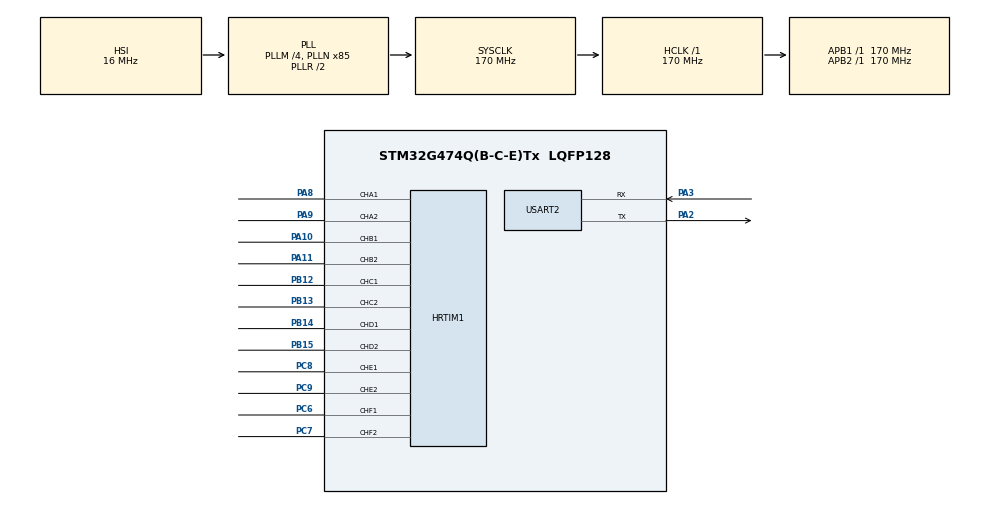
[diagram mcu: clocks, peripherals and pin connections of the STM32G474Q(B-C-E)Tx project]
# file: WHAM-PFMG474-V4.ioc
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HRTIM1.PrescalerRatio_MASTER=HRTIM_PRESCALERRATIO_DIV1
HRTIM1.PrescalerRatio_TA=HRTIM_PRESCALERRATIO_DIV1
HRTIM1.PrescalerRatio_TB=HRTIM_PRESCALERRATIO_DIV1
HRTIM1.PrescalerRatio_TC=HRTIM_PRESCALERRATIO_DIV1
HRTIM1.PrescalerRatio_TD=HRTIM_PRESCALERRATIO_DIV1
HRTIM1.PrescalerRatio_TE=HRTIM_PRESCALERRATIO_DIV1
HRTIM1.PrescalerRatio_TF=HRTIM_PRESCALERRATIO_DIV1
Mcu.Family=STM32G4
Mcu.Name=STM32G474Q(B-C-E)Tx
Mcu.Package=LQFP128
NVIC.PriorityGroup=NVIC_PRIORITYGROUP_4
PA10.Mode=Output_TB1TB2
PA10.Signal=HRTIM1_CHB1
PA11.Mode=Output_TB1TB2
PA11.Signal=HRTIM1_CHB2
PA2.Mode=Asynchronous
PA2.Signal=USART2_TX
PA3.Mode=Asynchronous
PA3.Signal=USART2_RX
PA8.Mode=Output_TA1TA2
PA8.Signal=HRTIM1_CHA1
PA9.Mode=Output_TA1TA2
PA9.Signal=HRTIM1_CHA2
PB12.Mode=Output_TC1TC2
PB12.Signal=HRTIM1_CHC1
PB13.Mode=Output_TC1TC2
PB13.Signal=HRTIM1_CHC2
PB14.Mode=Output_TD1TD2
PB14.Signal=HRTIM1_CHD1
PB15.Mode=Output_TD1TD2
PB15.Signal=HRTIM1_CHD2
PC6.Mode=Output_TF1TF2
PC6.Signal=HRTIM1_CHF1
PC7.Mode=Output_TF1TF2
PC7.Signal=HRTIM1_CHF2
PC8.Mode=Output_TE1TE2
PC8.Signal=HRTIM1_CHE1
PC9.Mode=Output_TE1TE2
PC9.Signal=HRTIM1_CHE2
ProjectManager.HeapSize=0x200
ProjectManager.StackSize=0x400
ProjectManager.TargetToolchain=STM32CubeIDE
RCC.AHBFreq_Value=170000000
RCC.APB1Freq_Value=170000000
RCC.APB1TimFreq_Value=170000000
RCC.APB2Freq_Value=170000000
RCC.APB2TimFreq_Value=170000000
RCC.CortexFreq_Value=170000000
RCC.EXTERNAL_CLOCK_VALUE=12288000
RCC.HCLKFreq_Value=170000000
RCC.HSE_VALUE=8000000
RCC.HSI48_VALUE=48000000
RCC.HSI_VALUE=16000000
RCC.LSE_VALUE=32768
RCC.PLLM=RCC_PLLM_DIV4
RCC.PLLN=85
RCC.SYSCLKFreq_VALUE=170000000
RCC.SYSCLKSource=RCC_SYSCLKSOURCE_PLLCLK
RCC.USBFreq_Value=170000000
RCC.VCOOutputFreq_Value=340000000
USART2.VirtualMode-Asynchronous=VM_ASYNC
VP_HRTIM1_VS_hrtimMasterTimerNoOutput.Mode=MasterTimer
VP_SYS_VS_DBSignals.Mode=DisableDeadBatterySignals
board=custom

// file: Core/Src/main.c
/* USER CODE BEGIN Header */
/**
  ******************************************************************************
  * @file           : main.c
  * @brief          : Main program body
  ******************************************************************************
  * @attention
  *
  * Copyright (c) 2026 STMicroelectronics.
  * All rights reserved.
  *
  * This software is licensed under terms that can be found in the LICENSE file
  * in the root directory of this software component.
  * If no LICENSE file comes with this software, it is provided AS-IS.
  *
  ******************************************************************************
  */
/* USER CODE END Header */
#include "main.h"

/* USER CODE BEGIN Includes */
#include "uart.h"
#include "cmd_parser.h"
#include "boot_jump.h"
#include "hrtim.h"
#include "pfm.h"
/* USER CODE END Includes */

UART_HandleTypeDef huart2;

void SystemClock_Config(void);
static void MX_GPIO_Init(void);
static void MX_USART2_UART_Init(void);
static void MX_HRTIM1_Init(void);
/* USER CODE BEGIN PFP */
static void FixSysTickPriority(void);
/* USER CODE END PFP */

int main(void)
{

  /* USER CODE BEGIN 1 */

  /* Must be the very first thing that runs -- before HAL_Init() and
     therefore before any clock/peripheral configuration. See
     boot_jump.c: if cmd_boot() (over USART2) requested a bootloader
     entry on the last reset, this diverts into the ROM bootloader from
     this still-clean, just-reset state and never returns. Otherwise it
     returns immediately (always the case when BOOT_JUMP_FEATURE_ENABLED
     is 0) and startup proceeds normally below -- unconditional on
     purpose, so this call site never needs its own #if. */
  BootJump_CheckAndEnter();

  /* USER CODE END 1 */

  /* MCU Configuration--------------------------------------------------------*/

  /* Reset of all peripherals, Initializes the Flash interface and the Systick. */
  HAL_Init();

  /* USER CODE BEGIN Init */
  /* Must run immediately after HAL_Init() -- HAL_InitTick() (called
     inside HAL_Init()) sets SysTick to its default TICK_INT_PRIORITY
     (15, the lowest possible), which this overrides. See
     FixSysTickPriority()'s own doc comment (below) for the full
     priority-inversion window this closes -- placed here, as early as
     possible, so nothing between here and HRTIM1_EnableMasterInterrupt()
     (which sets HRTIM1_Master_IRQn's priority, later in USER CODE 2)
     can be exposed to it, however briefly. Ported from the sibling
     PFM-STM32G474 project's main.c, same placement. */
  FixSysTickPriority();
  /* USER CODE END Init */

  /* Configure the system clock */
  SystemClock_Config();

  /* Initialize all configured peripherals */
  MX_GPIO_Init();
  MX_HRTIM1_Init();
  MX_USART2_UART_Init();
  /* USER CODE BEGIN 2 */
  /* Brings the PFM table module to a known-empty, known-stopped state
     before anything else can touch it (a TABLE:* command over UART, or
     a FIRE). Does not start HRTIM outputs -- see PFM_Init()'s own
     comment in pfm.c. */
  PFM_Init();
  uart_init(&uart2, &huart2);

  /* The HRTIM master-repetition interrupt must be enabled now, at
     boot, even though outputs are not yet running: PFM_CycleBoundaryHandler()
     needs to be wired up and ready before the first FIRE, not armed
     reactively at fire time. The ISR itself is a no-op with respect to
     actual switching until HRTIM1_PWM_Start() has been called (by
     cmd_fire() -> PFM_Restart()). Ported from the sibling
     PFM-STM32G474 project's main.c, same placement/rationale. */
  HRTIM1_EnableMasterInterrupt();
  /* USER CODE END 2 */

  /* Infinite loop */
  while (1)
  {

    /* USER CODE BEGIN 3 */
    /* Polls for a completed serial command line and dispatches it. */
    uart_process(&uart2);
  }
  /* USER CODE END 3 */
}

void SystemClock_Config(void)
{
  RCC_OscInitTypeDef RCC_OscInitStruct = {0};
  RCC_ClkInitTypeDef RCC_ClkInitStruct = {0};

  /* Copied directly from the sibling PFM-STM32G474 project's
     SystemClock_Config() (170 MHz HSI/PLL config), not derived via
     CubeMX's own auto-resolve -- see AGENTS.md / docs/changelog.txt for
     why: enabling HRTIM1 through the CubeMX GUI on 2026-09-04 triggered
     its "resolve clock issues" auto-fix, which silently picked its own
     unrelated 104 MHz PLL config (PLLN=13) instead. hrtim.c's whole
     timing model -- HRTIM_TIMER_CLK_HZ, the hardcoded Period=1699 for
     100 kHz, the 17-count/100 ns dead time -- assumes exactly this
     170 MHz derivation (HSI 16 MHz / PLLM 4 * PLLN 85 / PLLR 2), matching
     V3's real, hardware-verified config. Voltage scale BOOST and
     FLASH_LATENCY_8 are both required at this SYSCLK -- don't drop
     either while "simplifying" this. */

  /** Configure the main internal regulator output voltage
  */
  HAL_PWREx_ControlVoltageScaling(PWR_REGULATOR_VOLTAGE_SCALE1_BOOST);

  /** Initializes the RCC Oscillators according to the specified parameters
  * in the RCC_OscInitTypeDef structure.
  */
  RCC_OscInitStruct.OscillatorType = RCC_OSCILLATORTYPE_HSI;
  RCC_OscInitStruct.HSIState = RCC_HSI_ON;
  RCC_OscInitStruct.HSICalibrationValue = RCC_HSICALIBRATION_DEFAULT;
  RCC_OscInitStruct.PLL.PLLState = RCC_PLL_ON;
  RCC_OscInitStruct.PLL.PLLSource = RCC_PLLSOURCE_HSI;
  RCC_OscInitStruct.PLL.PLLM = RCC_PLLM_DIV4;
  RCC_OscInitStruct.PLL.PLLN = 85;
  RCC_OscInitStruct.PLL.PLLP = RCC_PLLP_DIV2;
  RCC_OscInitStruct.PLL.PLLQ = RCC_PLLQ_DIV2;
  RCC_OscInitStruct.PLL.PLLR = RCC_PLLR_DIV2;
  if (HAL_RCC_OscConfig(&RCC_OscInitStruct) != HAL_OK)
  {
    Error_Handler();
  }

  /** Initializes the CPU, AHB and APB buses clocks
  */
  RCC_ClkInitStruct.ClockType = RCC_CLOCKTYPE_HCLK|RCC_CLOCKTYPE_SYSCLK
                              |RCC_CLOCKTYPE_PCLK1|RCC_CLOCKTYPE_PCLK2;
  RCC_ClkInitStruct.SYSCLKSource = RCC_SYSCLKSOURCE_PLLCLK;
  RCC_ClkInitStruct.AHBCLKDivider = RCC_SYSCLK_DIV1;
  RCC_ClkInitStruct.APB1CLKDivider = RCC_HCLK_DIV1;
  RCC_ClkInitStruct.APB2CLKDivider = RCC_HCLK_DIV1;

  if (HAL_RCC_ClockConfig(&RCC_ClkInitStruct, FLASH_LATENCY_8) != HAL_OK)
  {
    Error_Handler();
  }
}

static void MX_HRTIM1_Init(void)
{
  HRTIM1_FullInit();
}

static void MX_USART2_UART_Init(void)
{

  /* USER CODE BEGIN USART2_Init 1 */
  /* huart2.Init.BaudRate below is hand-set to 115200 -- raised from
     9600 on 2026-09-04 after a real-hardware experiment (9600 -> clean
     at 115200 -> garbled/mismatched at 921600, see docs/changelog.txt)
     specifically to speed up TABLE:STEP uploads (~20s -> ~3.3s for a
     500-entry table). This is a deliberate WHAM-PFMG474-V4-only
     divergence from the sibling PFM-STM32G474 project, which still
     uses 9600 -- do not "fix" this to match V3 without checking
     docs/changelog.txt first. python/wham_serial_flash.py and
     python/pfm_table_upload.py's own APP_BAUD constants were updated
     to match; scpi.py takes baud on its own command line.

     This line lives in CubeMX-generated code, OUTSIDE any USER CODE
     marker -- a "Generate Code" from the .ioc (which has no explicit
     baud rate of its own) would reset it back to HAL's default. As it
     happens HAL's default IS 115200 right now, so a regen wouldn't be
     visibly wrong today -- but that's a coincidence, not a guarantee:
     if this value ever needs to change again, re-apply it here
     explicitly rather than trusting a regen to land on the right
     number by chance. */
  /* USER CODE END USART2_Init 1 */
  huart2.Instance = USART2;
  huart2.Init.BaudRate = 115200;
  huart2.Init.WordLength = UART_WORDLENGTH_8B;
  huart2.Init.StopBits = UART_STOPBITS_1;
  huart2.Init.Parity = UART_PARITY_NONE;
  huart2.Init.Mode = UART_MODE_TX_RX;
  huart2.Init.HwFlowCtl = UART_HWCONTROL_NONE;
  huart2.Init.OverSampling = UART_OVERSAMPLING_16;
  huart2.Init.OneBitSampling = UART_ONE_BIT_SAMPLE_DISABLE;
  huart2.Init.ClockPrescaler = UART_PRESCALER_DIV1;
  huart2.AdvancedInit.AdvFeatureInit = UART_ADVFEATURE_NO_INIT;
  if (HAL_UART_Init(&huart2) != HAL_OK)
  {
    Error_Handler();
  }
  if (HAL_UARTEx_SetTxFifoThreshold(&huart2, UART_TXFIFO_THRESHOLD_1_8) != HAL_OK)
  {
    Error_Handler();
  }
  if (HAL_UARTEx_SetRxFifoThreshold(&huart2, UART_RXFIFO_THRESHOLD_1_8) != HAL_OK)
  {
    Error_Handler();
  }
  if (HAL_UARTEx_DisableFifoMode(&huart2) != HAL_OK)
  {
    Error_Handler();
  }
  /* USER CODE BEGIN USART2_Init 2 */
  /* Required for uart.c's interrupt-driven receive (HAL_UART_Receive_IT)
     to actually fire HAL_UART_RxCpltCallback() -- without this, RX
     interrupts never reach the NVIC and the serial command parser
     never receives anything. Ported from the sibling PFM-STM32G474
     project, which hit exactly this failure mode. */
  HAL_NVIC_SetPriority(USART2_IRQn, 2U, 0U);
  HAL_NVIC_EnableIRQ(USART2_IRQn);
  /* USER CODE END USART2_Init 2 */

}

static void MX_GPIO_Init(void)
{

  /* GPIO Ports Clock Enable */
  __HAL_RCC_GPIOA_CLK_ENABLE();

}

/* USER CODE BEGIN 4 */
/**
  * @brief  Raises SysTick's NVIC priority off HAL's default lowest
  *         value, before anything else can run at an intermediate
  *         priority.
  *
  * Ported verbatim from the sibling PFM-STM32G474 project's main.c.
  * HAL_InitTick() (called from HAL_Init(), which must run before this)
  * leaves SysTick_IRQn at TICK_INT_PRIORITY (15, the lowest possible
  * priority on this Cortex-M4's 4-bit-preempt NVIC grouping). This
  * project's interrupt priority scheme needs SysTick to be the
  * *highest*-priority interrupt instead, at 0 -- ahead of both
  * HRTIM1_Master_IRQn (1, see HRTIM1_EnableMasterInterrupt() in
  * hrtim.c) and USART2_IRQn (2, see MX_USART2_UART_Init() above) --
  * so that HAL_Delay()/HAL_GetTick() (both driven by SysTick, and used
  * by ordinary HAL driver calls such as HAL_UART_Init() during
  * startup) can never be starved by either of those interrupts firing
  * back-to-back. Left at the HAL default, a sufficiently busy
  * HRTIM1_Master_IRQn or USART2_IRQn could indefinitely delay a
  * HAL_Delay()-based timeout inside some future HAL call, which would
  * look like an unexplained hang rather than a priority bug.
  */
static void FixSysTickPriority(void)
{
    HAL_NVIC_SetPriority(SysTick_IRQn, 0U, 0U);
}
/* USER CODE END 4 */

void Error_Handler(void)
{
  __disable_irq();
  while (1)
  {
  }
}
